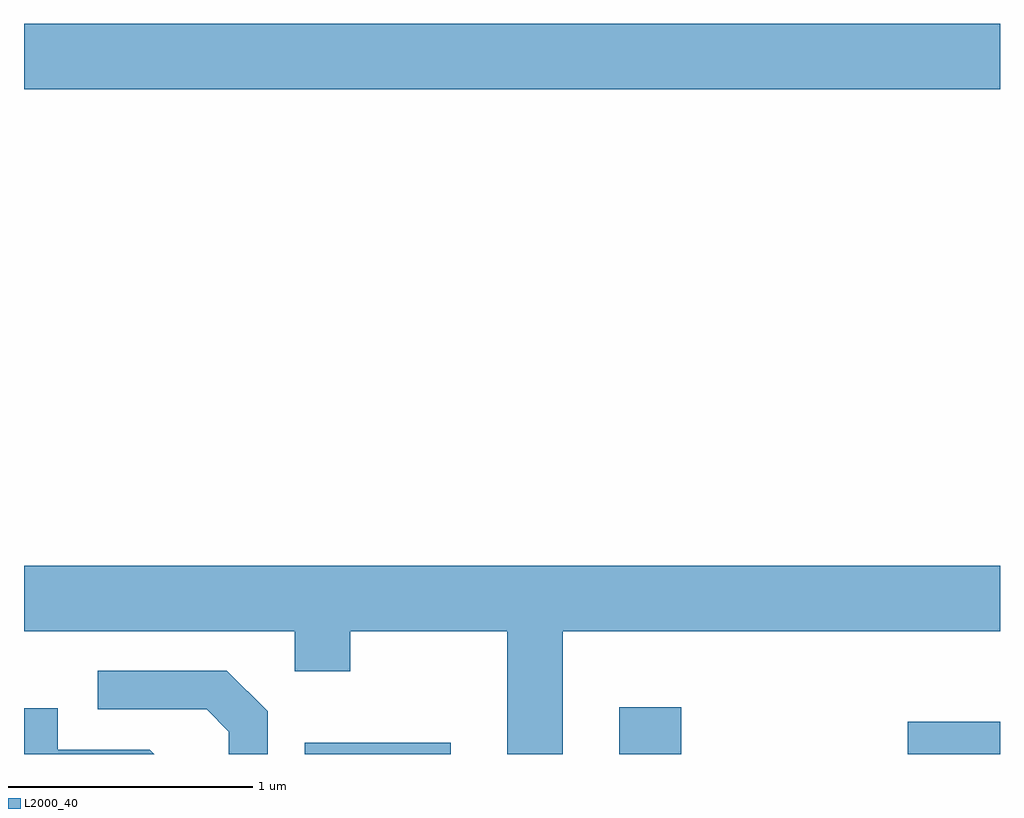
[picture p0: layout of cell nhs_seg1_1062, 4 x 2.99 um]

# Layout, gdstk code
import gdstk
lib = gdstk.Library(unit=1e-6, precision=1e-09)
def R(c, l, rs):  # rectangles x0, y0, x1, y1
    for r in rs: c.add(gdstk.rectangle(r[:2], r[2:], *l))
def P(c, l, *ps):  # polygons
    for p in ps: c.add(gdstk.Polygon(p, *l))
L2000_40 = (2000, 40)

nhs_seg1_1062 = lib.new_cell('nhs_seg1_1062')
R(nhs_seg1_1062, L2000_40, [(218.761,925.712,219.359,925.759), (220.051,925.712,220.304,925.904), (221.233,925.712,221.611,925.844), (217.611,928.436,221.611,928.704)])
P(nhs_seg1_1062, L2000_40, [(219.819,926.216),(221.611,926.216),(221.611,926.484),(217.611,926.484),(217.611,926.216),(218.721,926.216),(218.721,926.051),(218.949,926.051),(218.949,926.216),(219.591,926.216),(219.591,925.712),(219.819,925.712)],
  [(218.609,925.887),(218.442,926.054),(217.913,926.054),(217.913,925.896),(218.359,925.896),(218.451,925.804),(218.451,925.712),(218.609,925.712)],
  [(218.127,925.729),(217.749,925.729),(217.749,925.899),(217.611,925.899),(217.611,925.712),(218.144,925.712)])

lib.write_gds('nhs_seg1_1062.gds')
